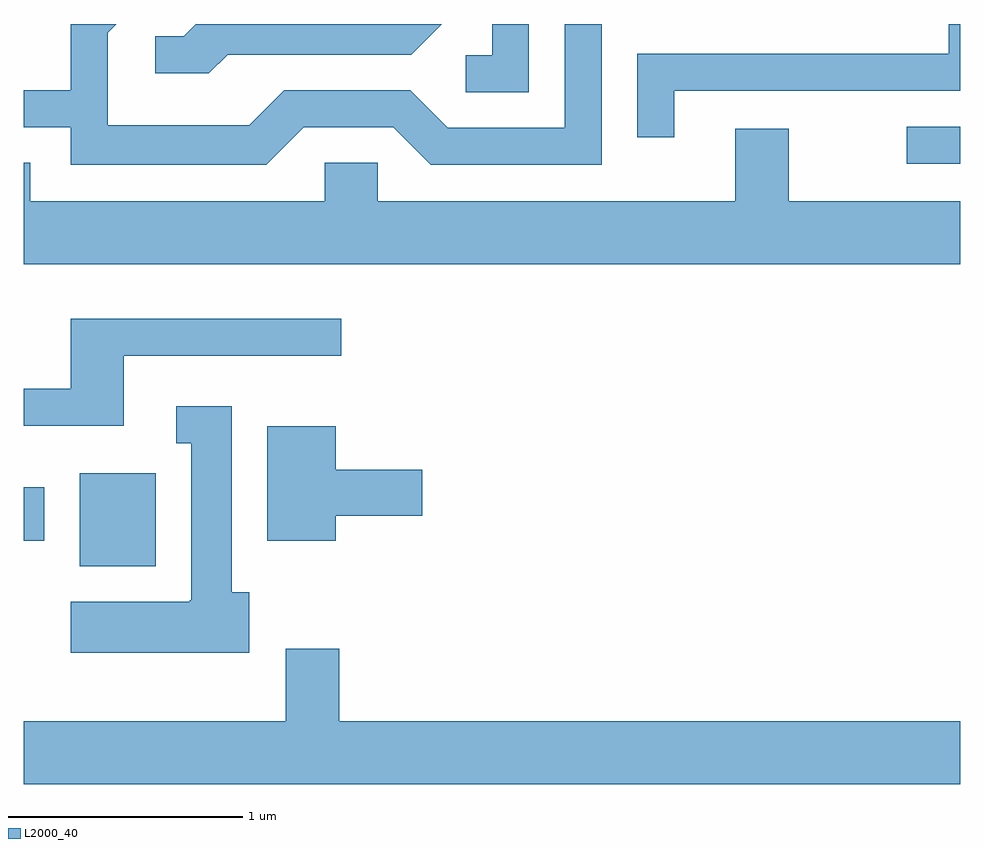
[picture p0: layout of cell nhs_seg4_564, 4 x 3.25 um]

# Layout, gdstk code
import gdstk
lib = gdstk.Library(unit=1e-6, precision=1e-09)
def R(c, l, rs):  # rectangles x0, y0, x1, y1
    for r in rs: c.add(gdstk.rectangle(r[:2], r[2:], *l))
def P(c, l, *ps):  # polygons
    for p in ps: c.add(gdstk.Polygon(p, *l))
L2000_40 = (2000, 40)

nhs_seg4_564 = lib.new_cell('nhs_seg4_564')
R(nhs_seg4_564, L2000_40, [(201.851,1295.666,202.174,1296.064), (201.611,1295.776,201.699,1296.004), (205.383,1297.386,205.611,1297.544)])
P(nhs_seg4_564, L2000_40, [(203.769,1297.982),(203.611,1297.982),(203.611,1297.849),(203.498,1297.849),(203.498,1297.691),(203.769,1297.691)],
  [(202.807,1297.541),(203.189,1297.541),(203.349,1297.381),(204.079,1297.381),(204.079,1297.982),(203.921,1297.982),(203.921,1297.539),(203.422,1297.539),(203.262,1297.699),(202.724,1297.699),(202.574,1297.549),(201.969,1297.549),(201.969,1297.944),(202.007,1297.982),(201.811,1297.982),(201.811,1297.699),(201.611,1297.699),(201.611,1297.541),(201.811,1297.541),(201.811,1297.381),(202.647,1297.381)],
  [(204.389,1297.696),(205.611,1297.696),(205.611,1297.982),(205.561,1297.982),(205.561,1297.854),(204.231,1297.854),(204.231,1297.498),(204.389,1297.498)],
  [(202.482,1297.851),(203.267,1297.851),(203.397,1297.982),(202.346,1297.982),(202.294,1297.929),(202.173,1297.929),(202.173,1297.771),(202.402,1297.771)],
  [(205.611,1297.224),(204.879,1297.224),(204.879,1297.534),(204.651,1297.534),(204.651,1297.224),(203.124,1297.224),(203.124,1297.389),(202.896,1297.389),(202.896,1297.224),(201.639,1297.224),(201.639,1297.389),(201.611,1297.389),(201.611,1296.956),(205.611,1296.956)],
  [(202.039,1296.566),(202.968,1296.566),(202.968,1296.724),(201.811,1296.724),(201.811,1296.424),(201.611,1296.424),(201.611,1296.266),(202.039,1296.266)],
  [(202.574,1295.554),(202.499,1295.554),(202.499,1296.349),(202.263,1296.349),(202.263,1296.191),(202.326,1296.191),(202.326,1295.52),(202.32,1295.52),(202.32,1295.514),(201.811,1295.514),(201.811,1295.296),(202.574,1295.296)],
  [(202.944,1295.881),(203.314,1295.881),(203.314,1296.079),(202.944,1296.079),(202.944,1296.264),(202.651,1296.264),(202.651,1295.776),(202.944,1295.776)],
  [(205.611,1295.004),(202.959,1295.004),(202.959,1295.314),(202.731,1295.314),(202.731,1295.004),(201.611,1295.004),(201.611,1294.736),(205.611,1294.736)])

lib.write_gds('nhs_seg4_564.gds')
